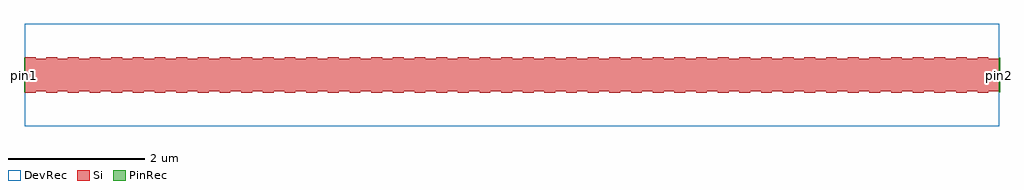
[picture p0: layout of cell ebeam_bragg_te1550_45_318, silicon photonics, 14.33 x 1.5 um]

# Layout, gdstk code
import gdstk
lib = gdstk.Library(unit=1e-6, precision=1e-09)
def R(c, l, rs):  # rectangles x0, y0, x1, y1
    for r in rs: c.add(gdstk.rectangle(r[:2], r[2:], *l))
def A(c, l, x, y, w, h, nx, ny, dx, dy):  # array of equal rectangles
    R(c, l, [(x+i*dx, y+j*dy, x+i*dx+w, y+j*dy+h) for i in range(nx) for j in range(ny)])
Si = (1, 0)
PinRec = (1, 10)
DevRec = (68, 0)

ebeam_bragg_te1550_45_31 = lib.new_cell('ebeam_bragg_te1550_45_318')
A(ebeam_bragg_te1550_45_31, Si, 0, -0.26, 0.159, 0.26, 45, 2, 0.318, 0.26)
A(ebeam_bragg_te1550_45_31, Si, 0.159, -0.24, 0.159, 0.24, 45, 2, 0.318, 0.24)
R(ebeam_bragg_te1550_45_31, DevRec, [(0,-0.75,14.31,0.75)])
ebeam_bragg_te1550_45_31.add(gdstk.FlexPath([(0.01,0),(-0.01,0)], 0.5, ends="flush", simple_path=True, layer=1, datatype=10))  # PinRec
ebeam_bragg_te1550_45_31.add(gdstk.FlexPath([(14.3,0),(14.32,0)], 0.5, ends="flush", simple_path=True, layer=1, datatype=10))  # PinRec
ebeam_bragg_te1550_45_31.add(gdstk.Label('pin1', (0,0), layer=1, texttype=10))
ebeam_bragg_te1550_45_31.add(gdstk.Label('pin2', (14.31,0), layer=1, texttype=10))
ebeam_bragg_te1550_45_31.add(gdstk.Label('Lumerical_INTERCONNECT_library=Design kits/ebeam', (0,0), layer=68, texttype=0))
ebeam_bragg_te1550_45_31.add(gdstk.Label('Component=ebeam_bragg_te1550', (1.431,0), layer=68, texttype=0))
ebeam_bragg_te1550_45_31.add(gdstk.Label('Spice_param:number_of_periods=45 grating_period=3.18e-07 corrugation_width=2e-08 misalignment=0 sinusoidal=0', (1.59,0), layer=68, texttype=0))

lib.write_gds('ebeam_bragg_te1550_45_318.gds')
